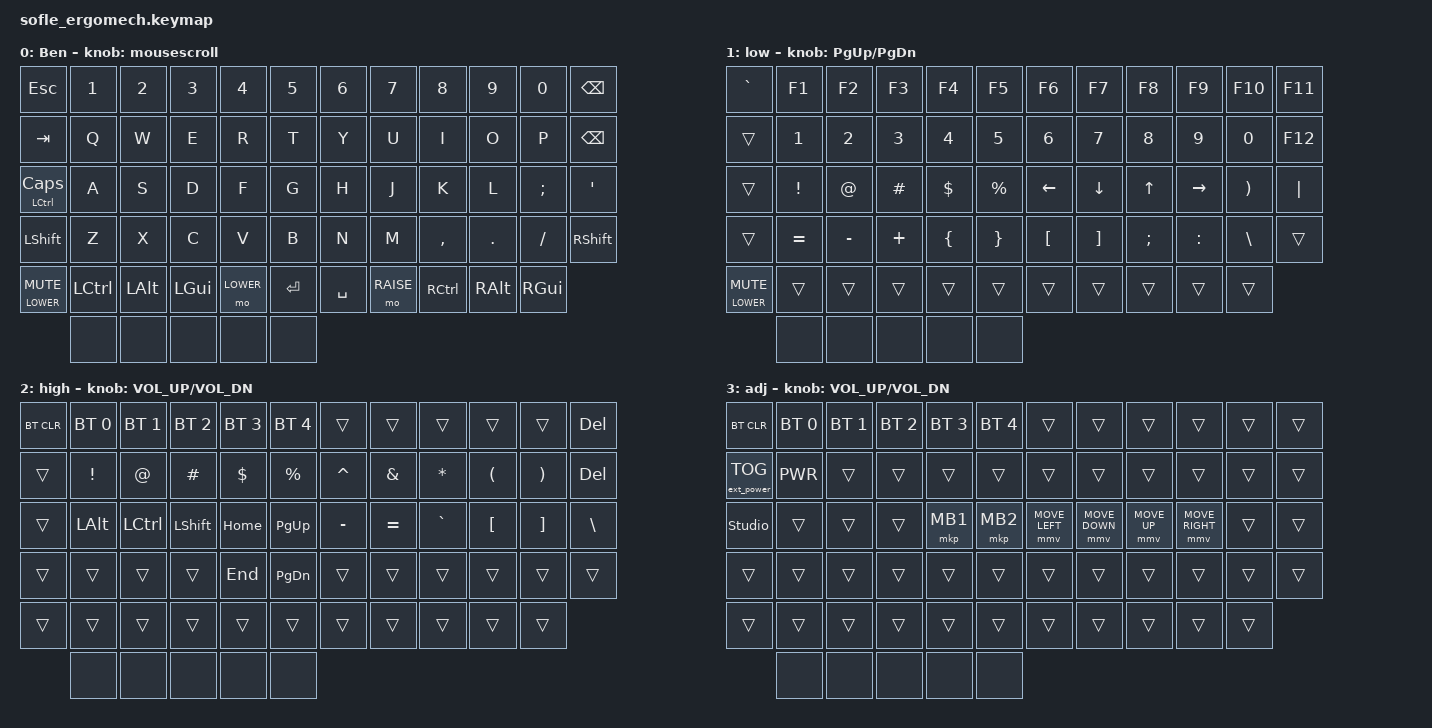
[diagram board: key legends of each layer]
/*
 * Copyright (c) 2020 The ZMK Contributors
 *
 * SPDX-License-Identifier: MIT
 */
#define ZMK_POINTING_DEFAULT_SCRL_VAL 300
#define ZMK_POINTING_DEFAULT_MOVE_VAL 2400  // default: 600

#include <dt-bindings/zmk/pointing.h>
#include <behaviors.dtsi>
#include <dt-bindings/zmk/bt.h>
#include <dt-bindings/zmk/ext_power.h>
#include <dt-bindings/zmk/keys.h>
#include <dt-bindings/zmk/rgb.h>
#include <dt-bindings/zmk/behaviors.h>

#define BASE 0
#define LOWER 1
#define RAISE 2
#define ADJUST 3

/ {
    // Activate ADJUST layer by pressing raise and lower

    conditional_layers {
        compatible = "zmk,conditional-layers";

        adjust_layer {
            if-layers = <LOWER RAISE>;
            then-layer = <ADJUST>;
        };
    };	

	behaviors {
        mousescroll: mousescroll {
            compatible = "zmk,behavior-sensor-rotate";
            #sensor-binding-cells = <0>;
            bindings = <&msc SCRL_UP>, <&msc SCRL_DOWN>;
			tap-ms = <20>;
        };
    };

    keymap {
        compatible = "zmk,keymap";

        default_layer {
            label = "Ben";

            // ------------------------------------------------------------------------------------------------------------
            // |  ESC  |  1  |  2  |  3   |  4   |  5   |                   |  6   |  7    |  8    |  9   |   0   | BKSPC |
            // |  TAB  |  Q  |  W  |  E   |  R   |  T   |                   |  Y   |  U    |  I    |  O   |   P   | BKSPC |
            // | LCTRL |  A  |  S  |  D   |  F   |  G   |                   |  H   |  J    |  K    |  L   |   ;   |   '   |
            // | LSHFT |  Z  |  X  |  C   |  V   |  B   |  MUTE  |  |       |  N   |  M    |  ,    |  .   |   /   | RSHFT |
            //               | GUI | ALT  | GUI  | LOWER|  ENTER |  | SPACE | RAISE| CTRL  | ALT   | GUI  |

            bindings = <
&kp ESC          &kp N1    &kp N2    &kp N3     &kp N4     &kp N5   &kp N6     &kp N7    &kp N8    &kp N9   &kp N0    &kp BSPC
&kp TAB          &kp Q     &kp W     &kp E      &kp R      &kp T    &kp Y      &kp U     &kp I     &kp O    &kp P     &kp BSPC
&mt LCTRL CAPS   &kp A     &kp S     &kp D      &kp F      &kp G    &kp H      &kp J     &kp K     &kp L    &kp SEMI  &kp SQT
&kp LSHFT        &kp Z     &kp X     &kp C      &kp V      &kp B    &kp N      &kp M     &kp COMMA &kp DOT  &kp FSLH  &kp RSHFT
&lt LOWER C_MUTE &kp LCTRL  &kp LALT  &kp LGUI  &mo LOWER  &kp RET  &kp SPACE  &mo RAISE &kp RCTRL &kp RALT &kp RGUI
                  &none &none &none &none &none
            >;

            sensor-bindings = <&mousescroll>;
        };

        lower_layer {
            label = "low";

            // TODO: Some binds are waiting for shifted keycode support.
            // ------------------------------------------------------------------------------------------------------------
            // |   `   |  F1 |  F2 |  F3  |  F4  |  F5  |                   |  F6  |  F7   |  F8   |  F9  |  F10  |  F11  |
            // |       |  1  |  2  |  3   |  4   |  5   |                   |  6   |  7    |  8    |  9   |   0   |  F12  |
            // |       |  !  |  @  |  #   |  $   |  %   |                   |  <-  |  v    |  ^    |  ->  |   )   |   |   |
            // |       |  =  |  -  |  +   |  {   |  }   |        |  |       |  [   |  ]    |  ;    |  :   |   \   |       |
            //               |     |      |      |      |        |  |       |      |       |       |      |

            bindings = <
&kp GRAVE            &kp F1     &kp F2     &kp F3    &kp F4    &kp F5     &kp F6     &kp F7    &kp F8     &kp F9     &kp F10   &kp F11 
&trans               &kp N1     &kp N2     &kp N3    &kp N4    &kp N5     &kp N6     &kp N7    &kp N8     &kp N9     &kp N0    &kp F12
&trans               &kp EXCL   &kp AT     &kp HASH  &kp DLLR  &kp PRCNT  &kp LEFT   &kp DOWN  &kp UP     &kp RIGHT  &kp RPAR  &kp PIPE
&trans               &kp EQUAL  &kp MINUS  &kp PLUS  &kp LBRC  &kp RBRC   &kp LBKT   &kp RBKT  &kp SEMI   &kp COLON  &kp BSLH  &trans
&lt LOWER C_MUTE     &trans     &trans     &trans    &trans    &trans     &trans     &trans    &trans     &trans     &trans
                  &none &none &none &none &none
            >;

            sensor-bindings = <&inc_dec_kp PG_UP PG_DN>;
        };

        raise_layer {
            label = "high";

            // ------------------------------------------------------------------------------------------------------------
            // | BTCLR | BT1  | BT2  |  BT3  |  BT4  |  BT5 |                |      |      |       |      |       |  DEL  |
            // |       |  !   |  @   |  #    |   $   |   %  |                |  ^   |  &   |   *   |  (   |   )   |  DEL  |
            // |       |      |      |       | HOME  | PGUP |                | -    |  =   |   `   |  [   |  ]    |  \    |
            // |       |      |      |       |  END  | PGDN |      |  |      |      |      |       |      |       |       |
            //                |      |       |       |      |      |  |      |      |      |       |      |

            bindings = <
&bt BT_CLR  &bt BT_SEL 0  &bt BT_SEL 1  &bt BT_SEL 2  &bt BT_SEL 3  &bt BT_SEL 4  &trans     &trans    &trans    &trans     &trans    &kp DEL
&trans      &kp EXCL      &kp AT        &kp HASH      &kp DLLR      &kp PRCNT     &kp CARET  &kp AMPS  &kp STAR  &kp LPAR   &kp RPAR  &kp DEL
&trans      &kp LALT      &kp LCTRL     &kp LSHFT     &kp HOME      &kp PG_UP     &kp MINUS  &kp EQUAL &kp GRAVE &kp LBKT   &kp RBKT  &kp BSLH
&trans      &trans        &trans        &trans        &kp END       &kp PG_DN     &trans     &trans    &trans    &trans     &trans    &trans
&trans      &trans        &trans        &trans        &trans        &trans        &trans     &trans    &trans    &trans     &trans
                  &none &none &none &none &none
            >;

            sensor-bindings = <&inc_dec_kp C_VOL_UP C_VOL_DN>;
        };

        adjust_layer {
            // ----------------------------------------------------------------------------------------------------------------------------
            // | BTCLR         |  BT1  |  BT2  |  BT3  |  BT4  |  BT5  |               |      |       |       |       |       |       |
            // | EXTPWR        | C_PWR |       |       |       |       |               |      |       |       |       |       |       |
            // | studio_unlock |       |       |       |  MB1  |  MB2  |               | M_L  |  M_D  |  M_U  |  M_R  |       |       |
            // |               |       |       |       |       |       |      | |      |      |       |       |       |       |       |
            // |               |       |       |       |       |       |      | |      |      |       |       |

            label = "adj";
            bindings = <
&bt BT_CLR         &bt BT_SEL 0     &bt BT_SEL 1     &bt BT_SEL 2     &bt BT_SEL 3     &bt BT_SEL 4     &trans  &trans   &trans   &trans  &trans  &trans
&ext_power EP_TOG  &kp C_PWR        &trans           &trans           &trans           &trans           &trans  &trans   &trans   &trans  &trans  &trans
&studio_unlock     &trans           &trans           &trans           &mkp MB1         &mkp MB2         &mmv MOVE_LEFT  &mmv MOVE_DOWN  &mmv MOVE_UP  &mmv MOVE_RIGHT  &trans  &trans
&trans             &trans           &trans           &trans           &trans           &trans           &trans  &trans   &trans   &trans  &trans  &trans
&trans             &trans           &trans           &trans           &trans           &trans           &trans  &trans   &trans   &trans  &trans
                  &none &none &none &none &none
            >;

            sensor-bindings = <&inc_dec_kp C_VOL_UP C_VOL_DN>;
        };
    };
};

&mmv {
    time-to-max-speed-ms = <450>;
    acceleration-exponent = <2>;
};
